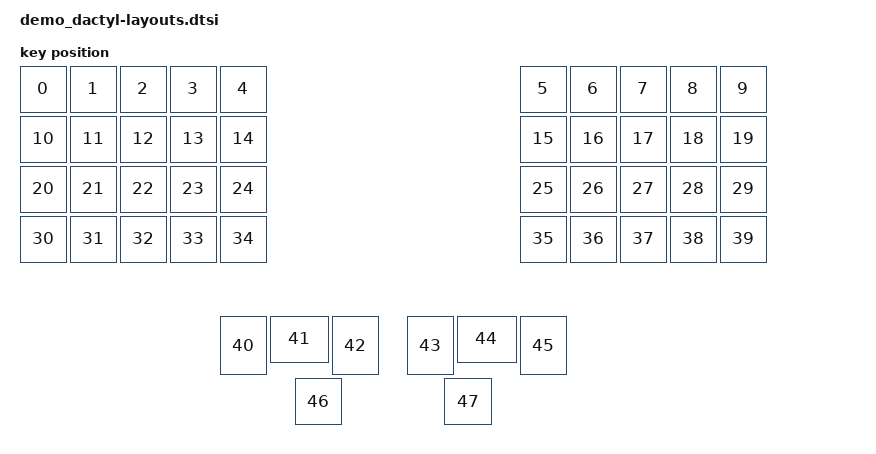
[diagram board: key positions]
/ {
    physical_layout0: physical_layout_0 {
        compatible = "zmk,physical-layout";
        display-name = "Default";
        kscan = <&kscan0>;
        transform = <&matrix_transform0>;

        keys  //                     w   h    x    y     rot    rx    ry
            = <&key_physical_attrs 100 100    0    0       0     0     0>
            , <&key_physical_attrs 100 100  100    0       0     0     0>
            , <&key_physical_attrs 100 100  200    0       0     0     0>
            , <&key_physical_attrs 100 100  300    0       0     0     0>
            , <&key_physical_attrs 100 100  400    0       0     0     0>
            , <&key_physical_attrs 100 100 1000    0       0     0     0>
            , <&key_physical_attrs 100 100 1100    0       0     0     0>
            , <&key_physical_attrs 100 100 1200    0       0     0     0>
            , <&key_physical_attrs 100 100 1300    0       0     0     0>
            , <&key_physical_attrs 100 100 1400    0       0     0     0>
            , <&key_physical_attrs 100 100    0  100       0     0     0>
            , <&key_physical_attrs 100 100  100  100       0     0     0>
            , <&key_physical_attrs 100 100  200  100       0     0     0>
            , <&key_physical_attrs 100 100  300  100       0     0     0>
            , <&key_physical_attrs 100 100  400  100       0     0     0>
            , <&key_physical_attrs 100 100 1000  100       0     0     0>
            , <&key_physical_attrs 100 100 1100  100       0     0     0>
            , <&key_physical_attrs 100 100 1200  100       0     0     0>
            , <&key_physical_attrs 100 100 1300  100       0     0     0>
            , <&key_physical_attrs 100 100 1400  100       0     0     0>
            , <&key_physical_attrs 100 100    0  200       0     0     0>
            , <&key_physical_attrs 100 100  100  200       0     0     0>
            , <&key_physical_attrs 100 100  200  200       0     0     0>
            , <&key_physical_attrs 100 100  300  200       0     0     0>
            , <&key_physical_attrs 100 100  400  200       0     0     0>
            , <&key_physical_attrs 100 100 1000  200       0     0     0>
            , <&key_physical_attrs 100 100 1100  200       0     0     0>
            , <&key_physical_attrs 100 100 1200  200       0     0     0>
            , <&key_physical_attrs 100 100 1300  200       0     0     0>
            , <&key_physical_attrs 100 100 1400  200       0     0     0>
            , <&key_physical_attrs 100 100    0  300       0     0     0>
            , <&key_physical_attrs 100 100  100  300       0     0     0>
            , <&key_physical_attrs 100 100  200  300       0     0     0>
            , <&key_physical_attrs 100 100  300  300       0     0     0>
            , <&key_physical_attrs 100 100  400  300       0     0     0>
            , <&key_physical_attrs 100 100 1000  300       0     0     0>
            , <&key_physical_attrs 100 100 1100  300       0     0     0>
            , <&key_physical_attrs 100 100 1200  300       0     0     0>
            , <&key_physical_attrs 100 100 1300  300       0     0     0>
            , <&key_physical_attrs 100 100 1400  300       0     0     0>
            , <&key_physical_attrs 100 125  400  500       0     0     0>
            , <&key_physical_attrs 125 100  500  500       0     0     0>
            , <&key_physical_attrs 100 125  625  500       0     0     0>
            , <&key_physical_attrs 100 125  775  500       0     0     0>
            , <&key_physical_attrs 125 100  875  500       0     0     0>
            , <&key_physical_attrs 100 125 1000  500       0     0     0>
            , <&key_physical_attrs 100 100  550  625       0     0     0>
            , <&key_physical_attrs 100 100  850  625       0     0     0>
            ;
    };

    position_map {
        compatible = "zmk,physical-layout-position-map";

        physical_layout0 {
            physical-layout = <&physical_layout0>;
            positions = < >;
        };
    };
};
